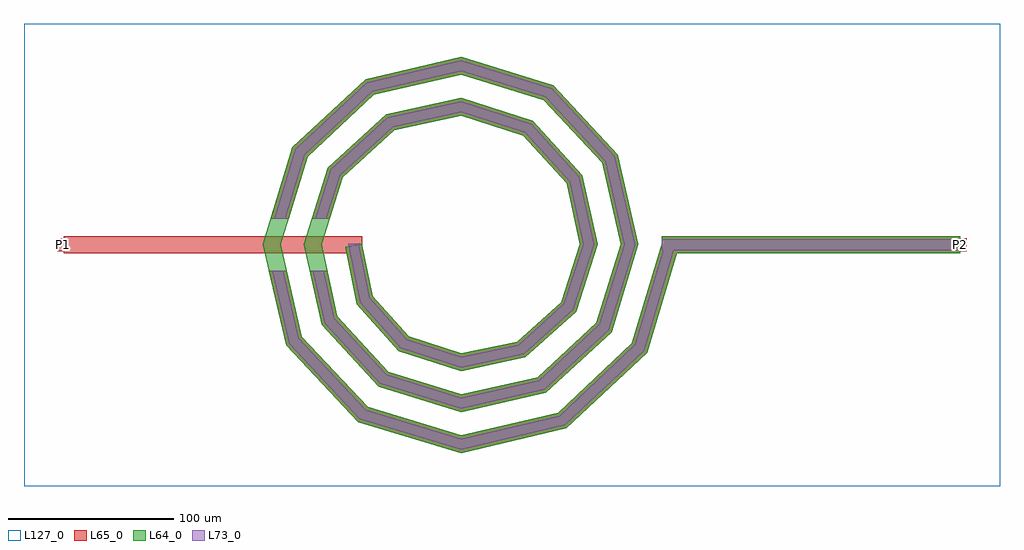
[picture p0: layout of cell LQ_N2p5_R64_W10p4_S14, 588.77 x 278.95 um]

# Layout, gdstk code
import gdstk
lib = gdstk.Library(unit=1e-6, precision=1e-09)
def R(c, l, rs):  # rectangles x0, y0, x1, y1
    for r in rs: c.add(gdstk.rectangle(r[:2], r[2:], *l))
def P(c, l, *ps):  # polygons
    for p in ps: c.add(gdstk.Polygon(p, *l))
L64_0 = (64, 0)
L65_0 = (65, 0)
L73_0 = (73, 0)
L127_0 = (127, 0)

lq_n2p5_r64_w10p4_s14 = lib.new_cell('LQ_N2p5_R64_W10p4_S14')
R(lq_n2p5_r64_w10p4_s14, L64_0, [(121.236,-5.2,301.236,5.2)])
P(lq_n2p5_r64_w10p4_s14, L64_0, [(-53.034,-30.976),(-31.477,-55.119),(0.291,-65.529),(34.038,-58.389),(60.449,-34.582),(71.698,0.268),(63.743,37.103),(37.685,65.781),(0.248,77.867),(-40.171,69.095),(-71.115,40.785),(-84.037,0.231),(-74.446,-43.242),(-43.884,-76.45),(0.216,-90.206),(46.314,-79.796),(81.786,-46.98),(96.376,0.203),(85.145,49.388),(50.075,87.123),(0.191,102.545),(-52.464,90.494),(-92.461,53.17),(-108.715,0.181),(-95.842,-55.54),(-56.263,-97.8),(0.172,-114.885),(58.617,-101.19),(103.139,-59.355),(121.457,1.499),(131.415,-1.499),(112.293,-65.024),(63.706,-110.679),(0.172,-125.647),(-61.947,-106.945),(-105.34,-60.613),(-119.477,0.181),(-101.597,58.87),(-57.519,100.001),(0.191,113.307),(55.794,96.248),(94.663,54.424),(107.136,0.203),(90.898,-52.719),(51.328,-89.326),(0.216,-100.966),(-49.645,-85.547),(-83.989,-48.23),(-94.795,0.231),(-80.195,46.574),(-45.131,78.653),(0.248,88.624),(43.504,74.842),(73.318,42.029),(82.453,0.268),(69.488,-40.436),(38.925,-67.985),(0.291,-76.282),(-37.372,-64.131),(-62.654,-35.816),(-69.828,-1.051),(-59.643,1.051)])
R(lq_n2p5_r64_w10p4_s14, L65_0, [(-239.535,-5.2,-59.535,5.2), (121.236,-5.2,301.236,5.2), (-243.535,-4,-235.535,4), (297.236,-4,305.236,4)])
P(lq_n2p5_r64_w10p4_s14, L65_0, [(-95.842,-55.54),(-56.263,-97.8),(0.172,-114.885),(58.617,-101.19),(103.139,-59.355),(121.457,1.499),(131.416,-1.499),(112.293,-65.024),(63.706,-110.679),(0.172,-125.647),(-61.947,-106.945),(-105.34,-60.613),(-115.807,-15.6),(-105.13,-15.6)],
  [(-74.446,-43.242),(-43.884,-76.45),(0.216,-90.206),(46.314,-79.796),(81.786,-46.98),(96.376,0.203),(85.145,49.388),(50.076,87.123),(0.191,102.545),(-52.464,90.494),(-92.461,53.17),(-103.907,15.6),(-114.779,15.6),(-101.597,58.87),(-57.519,100.001),(0.191,113.307),(55.794,96.248),(94.663,54.424),(107.136,0.203),(90.898,-52.719),(51.328,-89.326),(0.216,-100.966),(-49.646,-85.547),(-83.989,-48.23),(-91.265,-15.6),(-80.61,-15.6)],
  [(-31.477,-55.119),(0.291,-65.529),(34.038,-58.389),(60.449,-34.582),(71.698,0.268),(63.743,37.103),(37.685,65.781),(0.248,77.867),(-40.171,69.095),(-71.115,40.785),(-79.049,15.6),(-89.953,15.6),(-80.195,46.574),(-45.131,78.653),(0.248,88.624),(43.504,74.842),(73.318,42.029),(82.453,0.268),(69.488,-40.436),(38.925,-67.985),(0.291,-76.282),(-37.372,-64.131),(-62.654,-35.816),(-69.828,-1.051),(-59.643,1.051),(-53.034,-30.976)])
R(lq_n2p5_r64_w10p4_s14, L73_0, [(121.236,-3.2,301.236,3.2)])
P(lq_n2p5_r64_w10p4_s14, L73_0, [(-97.669,-56.516),(-57.356,-99.558),(0.106,-116.955),(59.596,-103.015),(104.899,-60.446),(123.372,0.922),(129.5,0.922),(110.533,-63.934),(62.727,-108.855),(0.106,-123.578),(-60.854,-105.186),(-103.514,-59.637),(-113.754,-15.6),(-107.183,-15.6)],
  [(-76.281,-44.201),(-44.992,-78.2),(0.133,-92.275),(47.279,-81.629),(83.539,-48.084),(98.445,0.125),(86.976,50.357),(51.175,88.878),(0.118,104.615),(-53.436,92.322),(-94.218,54.266),(-105.998,15.6),(-112.689,15.6),(-99.84,57.774),(-56.547,98.173),(0.118,111.237),(54.694,94.493),(92.833,53.456),(105.067,0.125),(89.146,-51.615),(50.364,-87.493),(0.133,-98.896),(-48.537,-83.798),(-82.154,-47.271),(-89.216,-15.6),(-82.659,-15.6)],
  [(-32.61,-56.852),(0.179,-67.597),(34.977,-60.234),(62.187,-35.708),(73.766,0.165),(65.584,38.05),(38.804,67.524),(0.153,79.936),(-41.125,70.933),(-72.861,41.899),(-81.146,15.6),(-87.856,15.6),(-78.449,45.461),(-44.177,76.815),(0.153,86.556),(42.385,73.1),(71.477,41.082),(80.385,0.165),(67.749,-39.311),(37.985,-66.14),(0.179,-74.214),(-36.238,-62.398),(-60.804,-34.886),(-67.869,0.647),(-61.601,0.647),(-54.884,-31.907)])
R(lq_n2p5_r64_w10p4_s14, L127_0, [(-263.535,-145.647,325.236,133.307)])
lq_n2p5_r64_w10p4_s14.add(gdstk.Label('P2', (301.236,0), layer=65, texttype=0))
lq_n2p5_r64_w10p4_s14.add(gdstk.Label('P1', (-239.535,0), layer=65, texttype=0))
lq_n2p5_r64_w10p4_s14.add(gdstk.Label('P2', (305.236,0), layer=145, texttype=0))
lq_n2p5_r64_w10p4_s14.add(gdstk.Label('P1', (-243.535,0), layer=145, texttype=0))

lib.write_gds('LQ_N2p5_R64_W10p4_S14.gds')
